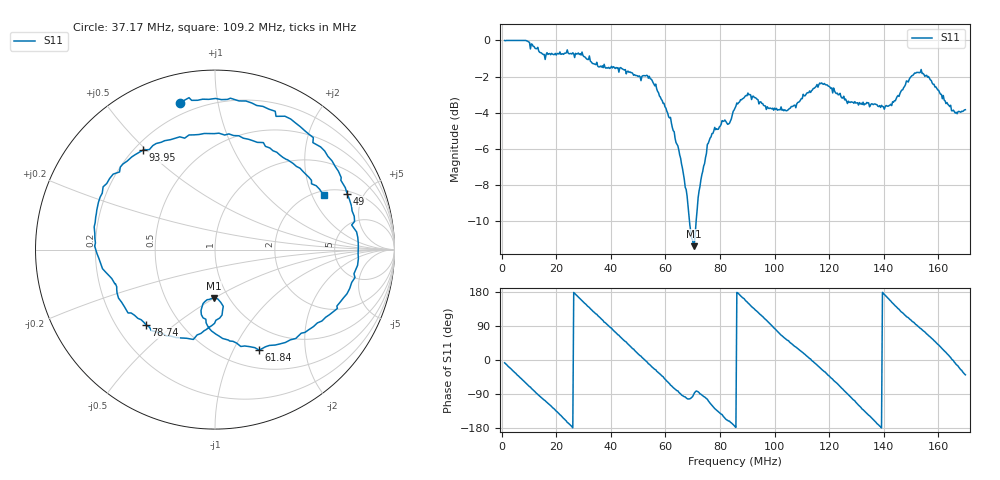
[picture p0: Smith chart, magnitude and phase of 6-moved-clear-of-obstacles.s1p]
! Touchstone file generated by AntScopeKit
# MHz S RI R 50
! Format: Frequency S-real S-imaginary (normalized to 50 Ohm)
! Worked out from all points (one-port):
!   501 points, 1 MHz to 170 MHz, reference 50 ohm
!   lowest |S11| = -11.4 dB at 70.29 MHz (marker M1), VSWR 1.74, Z = 42.6 - j24.7 ohm
!   |S11| at or under -10 dB: 68.8 MHz to 71.26 MHz (2.468 MHz wide, 3.52 % of centre)
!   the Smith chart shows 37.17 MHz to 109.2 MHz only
!   S11 on the Smith chart (normalised r, x): 37.17 MHz: 0.14, +0.78; 49 MHz: 2.16, +3.74; 61.84 MHz: 0.71, -1.27; 78.74 MHz: 0.32, -0.40; 93.95 MHz: 0.23, +0.49; 109.2 MHz: 2.20, +2.45
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1  0.9914 -0.1296
5.732  0.7636 -0.6457
11.478  0.1777 -0.9466
17.224  -0.4073 -0.8228
22.294  -0.8044 -0.444
28.716  -0.869 0.2984
37.166  -0.1969 0.8173
43.25  0.3897 0.7431
48.996  0.7364 0.3116
54.742  0.7505 -0.2168
61.84  0.246 -0.5604
64.544  0.0759 -0.5043
70.29  -0.00768 -0.2687
73.67  -0.0322 -0.4326
78.74  -0.3838 -0.4203
85.5  -0.6476 -0.0471
93.95  -0.4009 0.5546
100.034  0.0772 0.6446
106.794  0.5068 0.4187
109.16  0.6062 0.3015
117.272  0.6936 -0.3169
122.342  0.3804 -0.607
127.75  -0.0772 -0.6685
137.89  -0.6465 -0.1184
149.044  -0.2837 0.7124
154.114  0.1406 0.7976
160.536  0.5709 0.4339
170  0.4983 -0.4057
